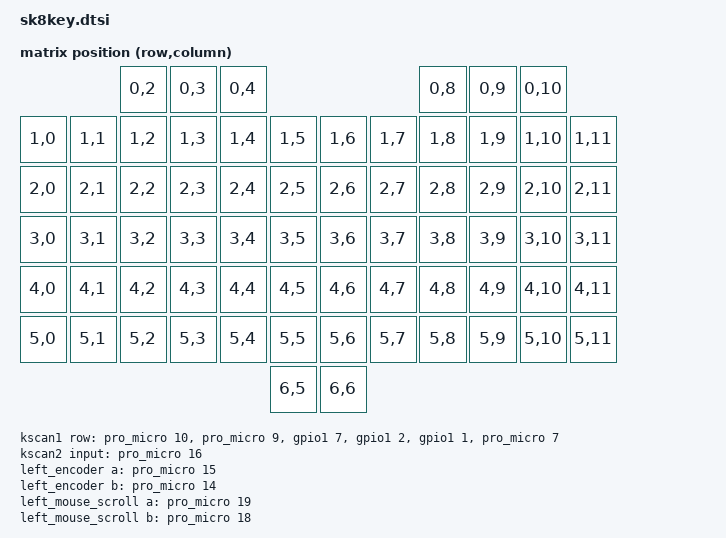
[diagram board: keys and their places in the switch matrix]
#include <dt-bindings/zmk/matrix_transform.h>
#include <dt-bindings/led/led.h>

/ {
    chosen {
        zmk,kscan = &kscan0;
        zmk,matrix_transform = &default_transform;
        zmk,underglow = &led_strip;
        zephyr,display = &oled;
    };

    sensors: sensors {
        compatible = "zmk,keymap-sensors";
        sensors = <&left_encoder &left_mouse_scroll &right_encoder &right_mouse_scroll>;
        triggers-per-rotation = <24>;
    };

    default_transform: keymap_transform_0 {
        compatible = "zmk,matrix-transform";
        columns = <12>;
        rows = <7>;

        map = <
                            RC(0,2) RC(0,3) RC(0,4)                             RC(0,8) RC(0,9) RC(0,10)
            RC(1,0) RC(1,1) RC(1,2) RC(1,3) RC(1,4) RC(1,5)     RC(1,6) RC(1,7) RC(1,8) RC(1,9) RC(1,10) RC(1,11)
            RC(2,0) RC(2,1) RC(2,2) RC(2,3) RC(2,4) RC(2,5)     RC(2,6) RC(2,7) RC(2,8) RC(2,9) RC(2,10) RC(2,11)
            RC(3,0) RC(3,1) RC(3,2) RC(3,3) RC(3,4) RC(3,5)     RC(3,6) RC(3,7) RC(3,8) RC(3,9) RC(3,10) RC(3,11)
            RC(4,0) RC(4,1) RC(4,2) RC(4,3) RC(4,4) RC(4,5)     RC(4,6) RC(4,7) RC(4,8) RC(4,9) RC(4,10) RC(4,11)
            RC(5,0) RC(5,1) RC(5,2) RC(5,3) RC(5,4) RC(5,5)     RC(5,6) RC(5,7) RC(5,8) RC(5,9) RC(5,10) RC(5,11)
                                                    RC(6,5)     RC(6,6)
        >;
    };



    kscan0: kscan {
        compatible = "zmk,kscan-composite";

        matrix {
            kscan = <&kscan1>;
        };

        direct_left {
            kscan = <&kscan2>;
            row-offset = <6>;
        };

        direct_right {
            kscan = <&kscan3>;
            row-offset = <6>;
        };
    };

    kscan1: kscan_matrix {
        compatible = "zmk,kscan-gpio-matrix";
        diode-direction = "col2row";  // Change to "row2col" if needed
        wakeup-source;

        row-gpios
            = <&pro_micro 10 (GPIO_ACTIVE_HIGH | GPIO_PULL_DOWN)>   // Row 0 → ️ Mouse Cluster (P009)
            , <&pro_micro 9 (GPIO_ACTIVE_HIGH | GPIO_PULL_DOWN)>   // Row 1 → Num (P106)
            , <&gpio1 7 (GPIO_ACTIVE_HIGH | GPIO_PULL_DOWN)>      // Row 2 → Top (P107)
            , <&gpio1 2 (GPIO_ACTIVE_HIGH | GPIO_PULL_DOWN)>      // Row 3 → Home (P102)
            , <&gpio1 1 (GPIO_ACTIVE_HIGH | GPIO_PULL_DOWN)>      // Row 4 → Bottom (P101)
            , <&pro_micro 7 (GPIO_ACTIVE_HIGH | GPIO_PULL_DOWN)>;  // Row 5 → Mod (P011)
    };

    kscan2: kscan_direct_left {
        compatible = "zmk,kscan-gpio-direct";
          wakeup-source;
           input-gpios
               = <&pro_micro 16 (GPIO_ACTIVE_LOW | GPIO_PULL_UP)>
               ;
    };

    left_encoder: encoder_left {
        compatible = "alps,ec11";
        a-gpios = <&pro_micro 15 (GPIO_ACTIVE_HIGH | GPIO_PULL_UP)>;
        b-gpios = <&pro_micro 14 (GPIO_ACTIVE_HIGH | GPIO_PULL_UP)>;
        steps = <80>;
        status = "okay";
    };

    left_mouse_scroll: scroll_wheel_left {
        compatible = "alps,ec11";
        a-gpios = <&pro_micro 19 (GPIO_ACTIVE_HIGH | GPIO_PULL_UP)>;
        b-gpios = <&pro_micro 18 (GPIO_ACTIVE_HIGH | GPIO_PULL_UP)>;
        steps = <192>;
        status = "okay";
    };

    kscan3: kscan_direct_right {
        compatible = "zmk,kscan-gpio-direct";
          wakeup-source;
           input-gpios
               = <&pro_micro 16 (GPIO_ACTIVE_LOW | GPIO_PULL_UP)>
               ;
    };

    right_encoder: encoder_right {
        compatible = "alps,ec11";
        a-gpios = <&pro_micro 15 (GPIO_ACTIVE_HIGH | GPIO_PULL_UP)>;
        b-gpios = <&pro_micro 14 (GPIO_ACTIVE_HIGH | GPIO_PULL_UP)>;
        steps = <80>;
        status = "okay";
    };

    right_mouse_scroll: scroll_wheel_right {
        compatible = "alps,ec11";
        a-gpios = <&pro_micro 19 (GPIO_ACTIVE_HIGH | GPIO_PULL_UP)>;
        b-gpios = <&pro_micro 18 (GPIO_ACTIVE_HIGH | GPIO_PULL_UP)>;
        steps = <192>;
        status = "okay";
    };
};

&pinctrl {
    spi3_default: spi3_default {
        group1 {
            psels = <NRF_PSEL(SPIM_MOSI, 0, 31)>;
        };
    };

    spi3_sleep: spi3_sleep {
        group1 {
            psels = <NRF_PSEL(SPIM_MOSI, 0, 31)>;
            low-power-enable;
        };
    };

     i2c0_default: i2c0_default {
         group1 {
             psels = <NRF_PSEL(TWIM_SDA, 0, 17)>,
                 <NRF_PSEL(TWIM_SCL, 0, 20)>;
         };
     };

     i2c0_sleep: i2c0_sleep {
         group1 {
             psels = <NRF_PSEL(TWIM_SDA, 0, 17)>,
                 <NRF_PSEL(TWIM_SCL, 0, 20)>;
             low-power-enable;
         };
     };

};

&spi3 {
    compatible = "nordic,nrf-spim";
    status = "okay";

    pinctrl-0 = <&spi3_default>;
    pinctrl-1 = <&spi3_sleep>;
    pinctrl-names = "default", "sleep";

    led_strip: ws2812@0 {
        compatible = "worldsemi,ws2812-spi";

        /* SPI */
        reg = <0>; /* ignored, but necessary for SPI bindings */
        spi-max-frequency = <4000000>;

        /* WS2812 */
        chain-length = <32>; /* number of LEDs */
        spi-one-frame = <0x70>;
        spi-zero-frame = <0x40>;
        color-mapping = <LED_COLOR_ID_GREEN LED_COLOR_ID_RED LED_COLOR_ID_BLUE>;
    };
};



&pro_micro_i2c {
    status = "okay";
    compatible = "nordic,nrf-twi";

    oled: ssd1306@3c {
        compatible = "solomon,ssd1306fb";
        reg = <0x3c>;
        width = <128>;
        height = <32>;
        segment-offset = <0>;
        page-offset = <0>;
        display-offset = <0>;
        multiplex-ratio = <31>;
        segment-remap;
        com-invdir;
        com-sequential;
        //inversion-on; //this swaps the colors for the display from black on white to white on black
        prechargep = <0x22>;
    };
};
